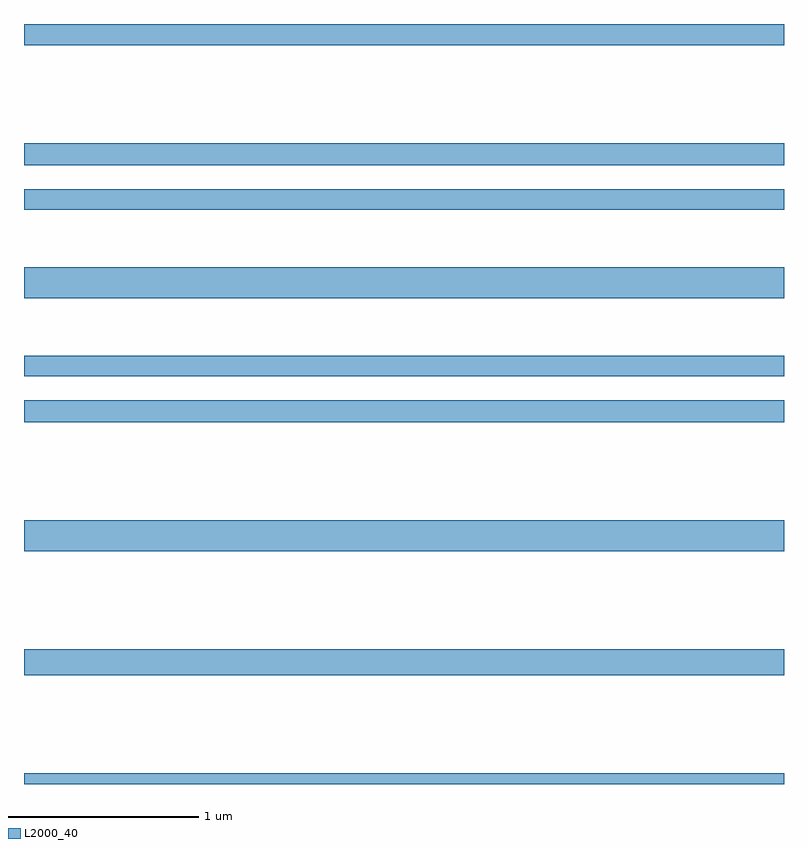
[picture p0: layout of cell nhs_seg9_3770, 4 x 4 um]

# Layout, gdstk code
import gdstk
lib = gdstk.Library(unit=1e-6, precision=1e-09)
def R(c, l, rs):  # rectangles x0, y0, x1, y1
    for r in rs: c.add(gdstk.rectangle(r[:2], r[2:], *l))
L2000_40 = (2000, 40)

nhs_seg9_3770 = lib.new_cell('nhs_seg9_3770')
R(nhs_seg9_3770, L2000_40, [(325,1224.5,329,1224.556), (325,1225.072,329,1225.208), (325,1225.724,329,1225.888), (325,1226.404,329,1226.52), (325,1226.646,329,1226.755), (325,1227.056,329,1227.22), (325,1227.522,329,1227.63), (325,1227.756,329,1227.872), (325,1228.388,329,1228.5)])

lib.write_gds('nhs_seg9_3770.gds')
